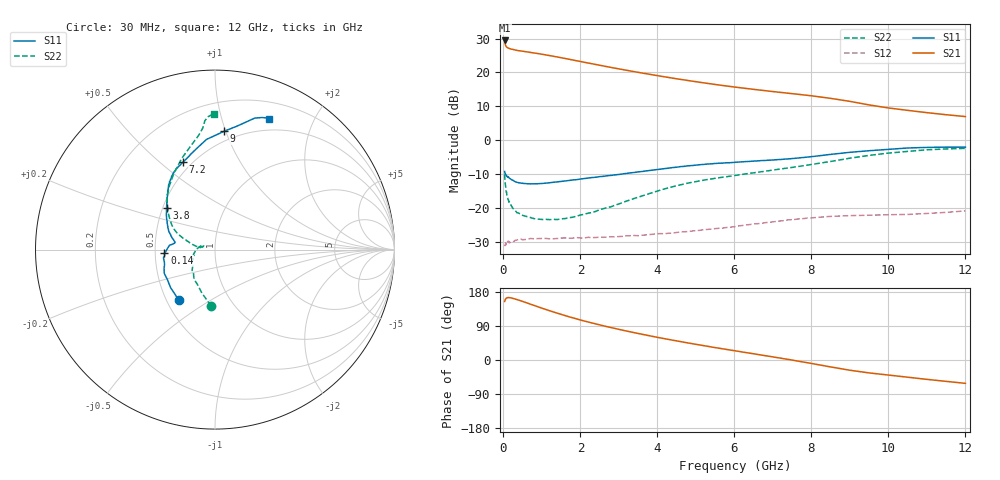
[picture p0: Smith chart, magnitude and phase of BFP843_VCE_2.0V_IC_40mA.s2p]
! Infineon Technologies  Discrete & RF Semiconductors
! BFP843
! VCE =  2.0 V,  IC =  40 mA
! Common Emitter S-Parameters:  Aug 2013
# GHz  S  MA  R  50
!  f  S11  S21  S12  S22
! GHz  MAG  ANG  MAG  ANG  MAG  ANG  MAG  ANG
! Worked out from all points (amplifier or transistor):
!   103 points, 30 MHz to 12 GHz, reference 50 ohm
!   highest |S21| = 29.4 dB at 30 MHz (marker M1)
!   |S21| within 3 dB of that: start of sweep to 386.4 MHz
!   unconditionally stable (mu >= 1): 69.61 MHz to 10.45 GHz
!   at 400 MHz: K = 1.03, MAG = 26.7 dB, |S12| = -29.3 dB
!   at 3.7 GHz: K = 1.35, MAG = 20.3 dB, |S12| = -28.0 dB
!   at 12 GHz: K = 0.84, MSG = 13.9 dB, |S12| = -20.9 dB
!   S11 on the Smith chart (normalised r, x): 30 MHz: 0.58, -0.37; 140 MHz: 0.56, -0.02; 3.8 GHz: 0.52, +0.28; 7.2 GHz: 0.45, +0.60; 9 GHz: 0.42, +0.99; 12 GHz: 0.37, +1.43
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0.03  0.3453 -125.9  29.61 154.5  0.0272 23.7  0.315 -93.8
0.04  0.326 -139.3  26.97 156.9  0.0281 22.8  0.2533 -106.7
0.05  0.3134 -147.8  25.63 160.2  0.0285 17.3  0.2175 -116.8
0.07  0.3022 -159.9  24.03 162.7  0.0286 11.6  0.1727 -134.3
0.1  0.2903 -169.0  23.24 164.4  0.0306 16.4  0.1482 -150.0
0.14  0.2822 -176.2  22.68 164.7  0.0321 7.0  0.1218 -163.5
0.3  0.2438 173.4  21.44 161.1  0.0331 6.5  0.0921 172.0
0.7  0.2262 170.2  19.72 147.3  0.0353 5.5  0.072 160.2
1.1  0.2319 168.1  18.12 133.4  0.0354 5.6  0.0676 161.5
1.6  0.2493 164.2  16.06 117.2  0.036 6.9  0.0694 167.5
2.1  0.2709 159.5  14.11 102.9  0.0359 8.1  0.0807 170.7
2.6  0.2924 153.9  12.44 90.2  0.0368 10.0  0.0974 171.3
3  0.3114 149.0  11.26 80.8  0.0377 11.6  0.1143 168.8
3.8  0.3565 139.1  9.368 63.8  0.0404 13.8  0.1633 162.9
4.1  0.3743 135.7  8.761 57.9  0.0416 14.0  0.1847 160.4
5  0.4275 127.6  7.287 41.4  0.0461 16.6  0.2441 154.8
6.1  0.4742 120.6  5.986 22.9  0.054 16.2  0.3059 145.7
7.2  0.5182 110.2  5.065 4.9  0.0641 12.4  0.3748 135.3
8.5  0.6158 94.4  4.137 -18.3  0.0749 2.8  0.4844 118.1
9  0.661 85.6  3.735 -27.0  0.0768 -1.6  0.5411 110.0
10.5  0.7653 73.2  2.751 -45.4  0.08 -8.9  0.6813 95.7
12  0.7881 67.4  2.228 -61.6  0.0902 -16.2  0.7557 90.6
